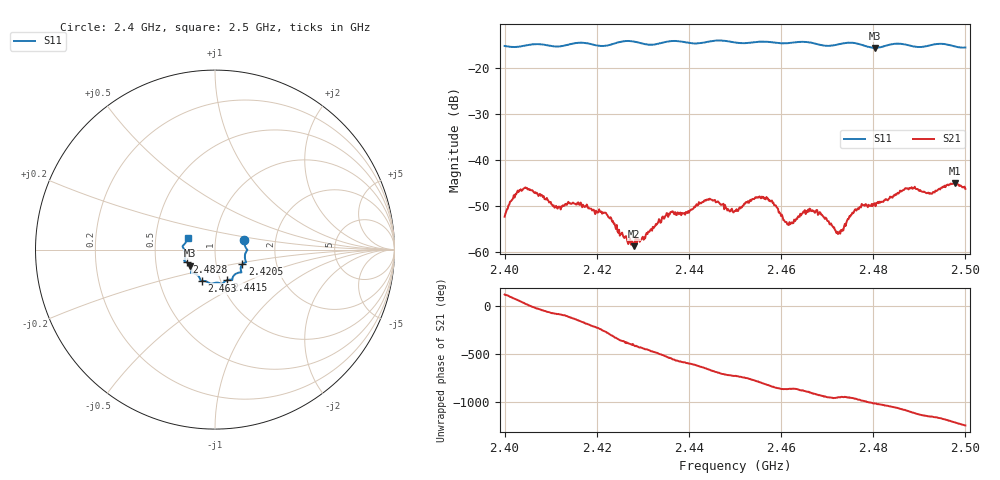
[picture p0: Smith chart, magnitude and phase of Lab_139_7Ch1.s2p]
# Hz S RI R 50
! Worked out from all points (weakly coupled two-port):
!   601 points, 2.4 GHz to 2.5 GHz, reference 50 ohm
!   highest |S21| = -45.18 dB at 2.4977 GHz (marker M1); lowest = -58.8 dB at 2.428 GHz (marker M2)
!   lowest |S11| = -15.7 dB at 2.4803 GHz (marker M3), VSWR 1.39, Z = 37.4 - j6.85 ohm
!   |S11| at or under -10 dB: start of sweep to end of sweep
!   S12 and S22 are empty: the file has one direction only
!   S11 on the Smith chart (normalised r, x): 2.4 GHz: 1.38, +0.15; 2.4205 GHz: 1.34, -0.23; 2.4415 GHz: 1.07, -0.38; 2.463 GHz: 0.82, -0.29; 2.4828 GHz: 0.72, -0.10; 2.5 GHz: 0.73, +0.10
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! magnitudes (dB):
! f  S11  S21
! 2.4 GHz  -15.3  -52.4
! 2.4045 GHz  -15.2  -46.0
! 2.411 GHz  -15.4  -50.4
! 2.4167 GHz  -14.6  -49.7
! 2.4205 GHz  -15.2  -50.8
! 2.428 GHz  -14.3  -58.8
! 2.4333 GHz  -14.8  -53.6
! 2.4415 GHz  -14.7  -50.0
! 2.4445 GHz  -14.3  -48.5
! 2.45 GHz  -14.5  -51.1
! 2.4557 GHz  -14.3  -48.4
! 2.4583 GHz  -14.5  -49.4
! 2.4612 GHz  -14.7  -53.6
! 2.463 GHz  -14.5  -53.4
! 2.4667 GHz  -14.6  -51.2
! 2.4723 GHz  -15.0  -56.2
! 2.4762 GHz  -14.7  -50.8
! 2.4803 GHz  -15.7  -49.5
! 2.4828 GHz  -15.2  -48.6
! 2.4833 GHz  -15.1  -48.5
! 2.4977 GHz  -15.4  -45.2
! 2.5 GHz  -15.6  -46.4
